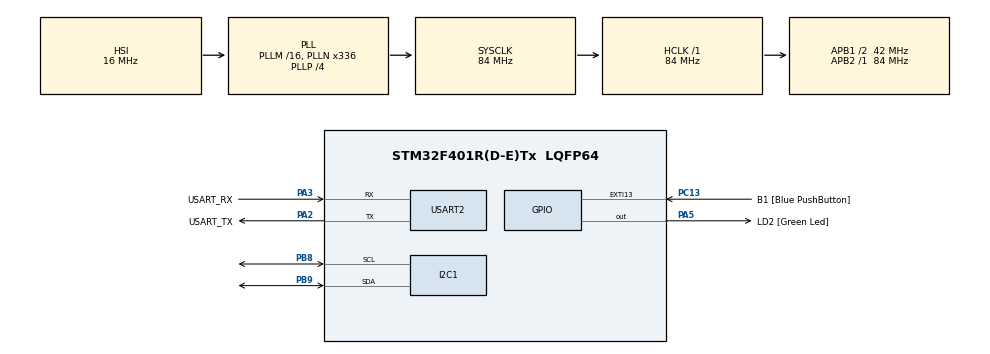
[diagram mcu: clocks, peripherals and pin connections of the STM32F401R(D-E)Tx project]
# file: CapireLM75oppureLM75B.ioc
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Mcu.Family=STM32F4
Mcu.Name=STM32F401R(D-E)Tx
Mcu.Package=LQFP64
NVIC.PriorityGroup=NVIC_PRIORITYGROUP_4
PA13.GPIO_Label=TMS
PA13.Mode=Trace_Asynchronous_SW
PA13.Signal=SYS_JTMS-SWDIO
PA14.GPIO_Label=TCK
PA14.Mode=Trace_Asynchronous_SW
PA14.Signal=SYS_JTCK-SWCLK
PA2.GPIO_Label=USART_TX
PA2.GPIO_Mode=GPIO_MODE_AF_PP
PA2.GPIO_PuPd=GPIO_NOPULL
PA2.GPIO_Speed=GPIO_SPEED_FREQ_LOW
PA2.Mode=Asynchronous
PA2.Signal=USART2_TX
PA3.GPIO_Label=USART_RX
PA3.GPIO_Mode=GPIO_MODE_AF_PP
PA3.GPIO_PuPd=GPIO_NOPULL
PA3.GPIO_Speed=GPIO_SPEED_FREQ_LOW
PA3.Mode=Asynchronous
PA3.Signal=USART2_RX
PA5.GPIO_Label=LD2 [Green Led]
PA5.GPIO_Mode=GPIO_MODE_OUTPUT_PP
PA5.GPIO_PuPd=GPIO_NOPULL
PA5.GPIO_Speed=GPIO_SPEED_FREQ_LOW
PA5.Signal=GPIO_Output
PB3.GPIO_Label=SWO
PB3.Mode=Trace_Asynchronous_SW
PB3.Signal=SYS_JTDO-SWO
PB8.Mode=I2C
PB8.Signal=I2C1_SCL
PB9.Mode=I2C
PB9.Signal=I2C1_SDA
PC13-ANTI_TAMP.GPIO_Label=B1 [Blue PushButton]
PC13-ANTI_TAMP.GPIO_ModeDefaultEXTI=GPIO_MODE_IT_FALLING
PC13-ANTI_TAMP.GPIO_PuPd=GPIO_NOPULL
PC13-ANTI_TAMP.Signal=GPXTI13
PC14-OSC32_IN.Mode=LSE-External-Oscillator
PC14-OSC32_IN.Signal=RCC_OSC32_IN
PC15-OSC32_OUT.Mode=LSE-External-Oscillator
PC15-OSC32_OUT.Signal=RCC_OSC32_OUT
PH0\ -\ OSC_IN.Mode=HSE-External-Clock-Source
PH0\ -\ OSC_IN.Signal=RCC_OSC_IN
PH1\ -\ OSC_OUT.Mode=HSE-External-Clock-Source
PH1\ -\ OSC_OUT.Signal=RCC_OSC_OUT
ProjectManager.HeapSize=0x200
ProjectManager.StackSize=0x400
ProjectManager.TargetToolchain=STM32CubeIDE
RCC.48MHZClocksFreq_Value=48000000
RCC.AHBFreq_Value=84000000
RCC.APB1CLKDivider=RCC_HCLK_DIV2
RCC.APB1Freq_Value=42000000
RCC.APB1TimFreq_Value=84000000
RCC.APB2Freq_Value=84000000
RCC.APB2TimFreq_Value=84000000
RCC.CortexFreq_Value=84000000
RCC.HCLKFreq_Value=84000000
RCC.HSE_VALUE=8000000
RCC.HSI_VALUE=16000000
RCC.PLLN=336
RCC.PLLP=RCC_PLLP_DIV4
RCC.PLLQ=7
RCC.SYSCLKFreq_VALUE=84000000
RCC.SYSCLKSource=RCC_SYSCLKSOURCE_PLLCLK
RCC.VCOOutputFreq_Value=336000000
USART2.VirtualMode=VM_ASYNC
board=NUCLEO-F401RE

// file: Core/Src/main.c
/* USER CODE BEGIN Header */
/**
  ******************************************************************************
  * @file           : main.c
  * @brief          : Main program body
  ******************************************************************************
  * @attention
  *
  * Copyright (c) 2026 STMicroelectronics.
  * All rights reserved.
  *
  * This software is licensed under terms that can be found in the LICENSE file
  * in the root directory of this software component.
  * If no LICENSE file comes with this software, it is provided AS-IS.
  *
  ******************************************************************************
  */
/* USER CODE END Header */
#include "main.h"

/* USER CODE BEGIN Includes */
#include "stdio.h"
#include "string.h"

/* USER CODE END Includes */

/* USER CODE BEGIN PD */
#define LM75_ADDR 0b10010000
#define LM75_TEMP_REGISTER 0x00

/* USER CODE END PD */

I2C_HandleTypeDef hi2c1;

UART_HandleTypeDef huart2;

void SystemClock_Config(void);
static void MX_GPIO_Init(void);
static void MX_USART2_UART_Init(void);
static void MX_I2C1_Init(void);
/* USER CODE BEGIN PFP */
void LM75_DetectVariant(void);
/* USER CODE END PFP */

/* USER CODE BEGIN 0 */

void LM75_DetectVariant(void)
{
    uint8_t buf[2];
    uint8_t lsb_or_mask = 0x00;
    char msg[80];
    int n;
    const int N_SAMPLES = 40;   /* 40 campioni x 500 ms ~= 20 s di test */

    n = sprintf(msg, "\r\n--- LM75/LM75B detection: scalda/raffredda il sensore per 20s ---\r\n");
    HAL_UART_Transmit(&huart2, (uint8_t*)msg, n, HAL_MAX_DELAY);

    for (int i = 0; i < N_SAMPLES; i++)
    {
        HAL_I2C_Mem_Read(&hi2c1, LM75_ADDR, LM75_TEMP_REGISTER, I2C_MEMADD_SIZE_8BIT, buf, 2, HAL_MAX_DELAY);

        lsb_or_mask |= buf[1];   /* OR cumulativo di tutti i LSByte visti */

        n = sprintf(msg, "MSB=0x%02X LSB=0x%02X  (OR finora=0x%02X)\r\n", buf[0], buf[1], lsb_or_mask);
        HAL_UART_Transmit(&huart2, (uint8_t*)msg, n, HAL_MAX_DELAY);

        HAL_Delay(500);
    }

    /* bit7 del LSByte porta dato (D0) sia per LM75 che per LM75B.
       bit6 e bit5 (D1, D0) portano dato SOLO per LM75B: per l'LM75
       sono sempre 0 via hardware, quindi se anche uno solo dei due
       compare a 1 in una qualsiasi lettura, non può che essere LM75B. */
    if (lsb_or_mask & 0x60)
    {
        n = sprintf(msg, "\r\n=> LM75B rilevato (11 bit, risoluzione 0.125 C)\r\n");
    }
    else
    {
        n = sprintf(msg, "\r\n=> Probabile LM75 (9 bit, risoluzione 0.5 C)");
    }
    HAL_UART_Transmit(&huart2, (uint8_t*)msg, n, HAL_MAX_DELAY);
}

/* USER CODE END 0 */

int main(void)
{

  /* MCU Configuration--------------------------------------------------------*/

  /* Reset of all peripherals, Initializes the Flash interface and the Systick. */
  HAL_Init();

  /* Configure the system clock */
  SystemClock_Config();

  /* Initialize all configured peripherals */
  MX_GPIO_Init();
  MX_USART2_UART_Init();
  MX_I2C1_Init();
  /* USER CODE BEGIN 2 */
  LM75_DetectVariant();

  /* USER CODE END 2 */

  /* Infinite loop */
  while (1)
  {

  }
}

void SystemClock_Config(void)
{
  RCC_OscInitTypeDef RCC_OscInitStruct = {0};
  RCC_ClkInitTypeDef RCC_ClkInitStruct = {0};

  /** Configure the main internal regulator output voltage
  */
  __HAL_RCC_PWR_CLK_ENABLE();
  __HAL_PWR_VOLTAGESCALING_CONFIG(PWR_REGULATOR_VOLTAGE_SCALE2);

  /** Initializes the RCC Oscillators according to the specified parameters
  * in the RCC_OscInitTypeDef structure.
  */
  RCC_OscInitStruct.OscillatorType = RCC_OSCILLATORTYPE_HSI;
  RCC_OscInitStruct.HSIState = RCC_HSI_ON;
  RCC_OscInitStruct.HSICalibrationValue = RCC_HSICALIBRATION_DEFAULT;
  RCC_OscInitStruct.PLL.PLLState = RCC_PLL_ON;
  RCC_OscInitStruct.PLL.PLLSource = RCC_PLLSOURCE_HSI;
  RCC_OscInitStruct.PLL.PLLM = 16;
  RCC_OscInitStruct.PLL.PLLN = 336;
  RCC_OscInitStruct.PLL.PLLP = RCC_PLLP_DIV4;
  RCC_OscInitStruct.PLL.PLLQ = 7;
  if (HAL_RCC_OscConfig(&RCC_OscInitStruct) != HAL_OK)
  {
    Error_Handler();
  }

  /** Initializes the CPU, AHB and APB buses clocks
  */
  RCC_ClkInitStruct.ClockType = RCC_CLOCKTYPE_HCLK|RCC_CLOCKTYPE_SYSCLK
                              |RCC_CLOCKTYPE_PCLK1|RCC_CLOCKTYPE_PCLK2;
  RCC_ClkInitStruct.SYSCLKSource = RCC_SYSCLKSOURCE_PLLCLK;
  RCC_ClkInitStruct.AHBCLKDivider = RCC_SYSCLK_DIV1;
  RCC_ClkInitStruct.APB1CLKDivider = RCC_HCLK_DIV2;
  RCC_ClkInitStruct.APB2CLKDivider = RCC_HCLK_DIV1;

  if (HAL_RCC_ClockConfig(&RCC_ClkInitStruct, FLASH_LATENCY_2) != HAL_OK)
  {
    Error_Handler();
  }
}

static void MX_I2C1_Init(void)
{

  hi2c1.Instance = I2C1;
  hi2c1.Init.ClockSpeed = 100000;
  hi2c1.Init.DutyCycle = I2C_DUTYCYCLE_2;
  hi2c1.Init.OwnAddress1 = 0;
  hi2c1.Init.AddressingMode = I2C_ADDRESSINGMODE_7BIT;
  hi2c1.Init.DualAddressMode = I2C_DUALADDRESS_DISABLE;
  hi2c1.Init.OwnAddress2 = 0;
  hi2c1.Init.GeneralCallMode = I2C_GENERALCALL_DISABLE;
  hi2c1.Init.NoStretchMode = I2C_NOSTRETCH_DISABLE;
  if (HAL_I2C_Init(&hi2c1) != HAL_OK)
  {
    Error_Handler();
  }

}

static void MX_USART2_UART_Init(void)
{

  huart2.Instance = USART2;
  huart2.Init.BaudRate = 115200;
  huart2.Init.WordLength = UART_WORDLENGTH_8B;
  huart2.Init.StopBits = UART_STOPBITS_1;
  huart2.Init.Parity = UART_PARITY_NONE;
  huart2.Init.Mode = UART_MODE_TX_RX;
  huart2.Init.HwFlowCtl = UART_HWCONTROL_NONE;
  huart2.Init.OverSampling = UART_OVERSAMPLING_16;
  if (HAL_UART_Init(&huart2) != HAL_OK)
  {
    Error_Handler();
  }

}

static void MX_GPIO_Init(void)
{
  GPIO_InitTypeDef GPIO_InitStruct = {0};

  /* GPIO Ports Clock Enable */
  __HAL_RCC_GPIOC_CLK_ENABLE();
  __HAL_RCC_GPIOH_CLK_ENABLE();
  __HAL_RCC_GPIOA_CLK_ENABLE();
  __HAL_RCC_GPIOB_CLK_ENABLE();

  /*Configure GPIO pin Output Level */
  HAL_GPIO_WritePin(LD2_GPIO_Port, LD2_Pin, GPIO_PIN_RESET);

  /*Configure GPIO pin : B1_Pin */
  GPIO_InitStruct.Pin = B1_Pin;
  GPIO_InitStruct.Mode = GPIO_MODE_IT_FALLING;
  GPIO_InitStruct.Pull = GPIO_NOPULL;
  HAL_GPIO_Init(B1_GPIO_Port, &GPIO_InitStruct);

  /*Configure GPIO pin : LD2_Pin */
  GPIO_InitStruct.Pin = LD2_Pin;
  GPIO_InitStruct.Mode = GPIO_MODE_OUTPUT_PP;
  GPIO_InitStruct.Pull = GPIO_NOPULL;
  GPIO_InitStruct.Speed = GPIO_SPEED_FREQ_LOW;
  HAL_GPIO_Init(LD2_GPIO_Port, &GPIO_InitStruct);

}

void Error_Handler(void)
{
  __disable_irq();
  while (1)
  {
  }
}
